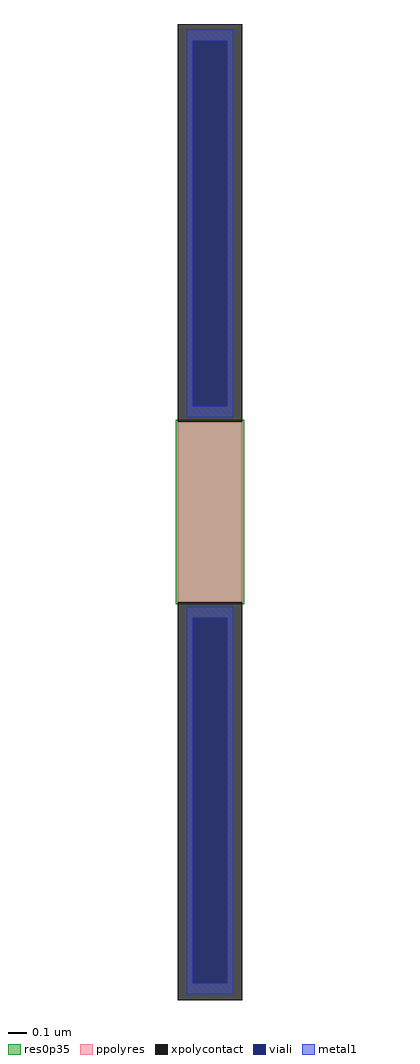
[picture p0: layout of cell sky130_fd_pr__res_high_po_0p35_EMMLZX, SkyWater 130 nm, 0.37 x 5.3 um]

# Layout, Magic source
magic
tech sky130A
magscale 1 2
<< xpolycontact >>
rect -35 98 35 530
rect -35 -530 35 -98
<< ppolyres >>
rect -35 -98 35 98
<< viali >>
rect -19 115 19 512
rect -19 -512 19 -115
<< metal1 >>
rect -25 512 25 524
rect -25 115 -19 512
rect 19 115 25 512
rect -25 103 25 115
rect -25 -115 25 -103
rect -25 -512 -19 -115
rect 19 -512 25 -115
rect -25 -524 25 -512
<< res0p35 >>
rect -37 -100 37 100
<< properties >>
string gencell sky130_fd_pr__res_high_po_0p35
string library sky130
string parameters w 0.350 l 0.98 m 1 nx 1 wmin 0.350 lmin 0.50 rho 319.8 val 2.008k dummy 0 dw 0.0 term 194.82 sterm 0.0 caplen 0 guard 0 glc 1 grc 1 gtc 1 gbc 1 compatible {sky130_fd_pr__res_high_po_0p35  sky130_fd_pr__res_high_po_0p69 sky130_fd_pr__res_high_po_1p41  sky130_fd_pr__res_high_po_2p85 sky130_fd_pr__res_high_po_5p73} full_metal 0 wmax 0.350 vias 1 n_guard 0 hv_guard 0 viagb 0 viagt 0 viagl 0 viagr 0
<< end >>
